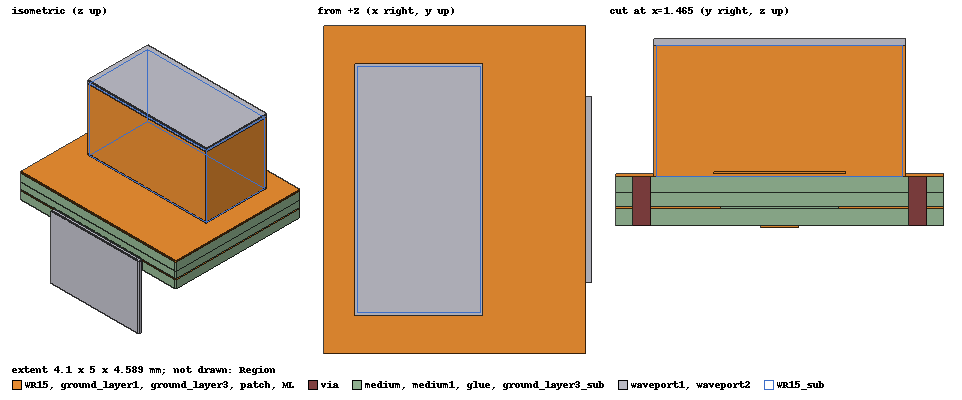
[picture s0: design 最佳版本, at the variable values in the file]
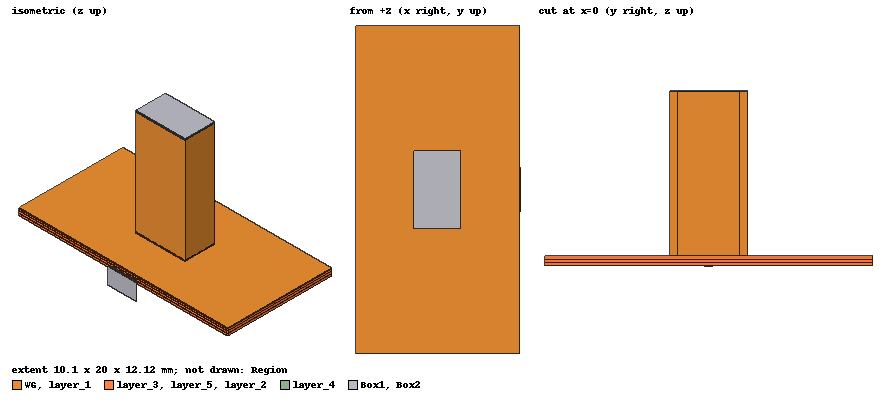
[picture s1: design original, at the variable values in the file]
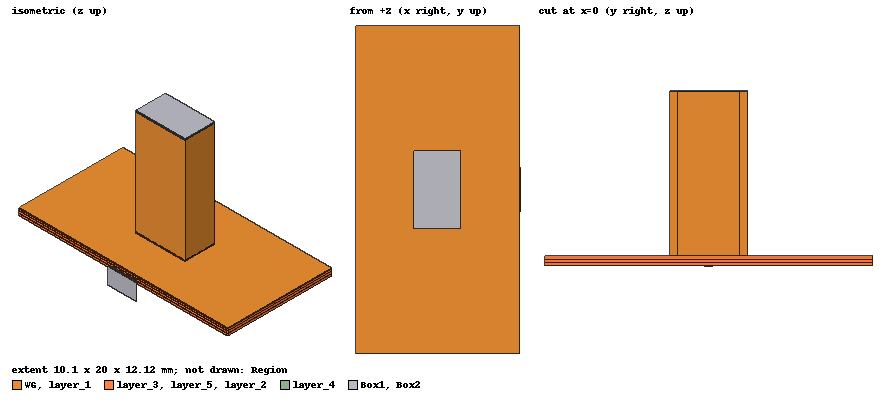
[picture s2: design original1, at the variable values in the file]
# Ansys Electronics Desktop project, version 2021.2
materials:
  vacuum: permittivity=1
  copper: permeability=0.999991 conductivity=58000000
  Rogers RO4350 (tm): permittivity=3.66 dielectric_loss_tangent=0.004
  pec: conductivity=1e+30
  air: permittivity=1.0006 permeability=1.0000004
  Rogers RO4450: permittivity=3.52 dielectric_loss_tangent=0.004
  Rogers RO4003 (tm): permittivity=3.55 dielectric_loss_tangent=0.0027

design 最佳版本 (HFSS, DrivenModal, model units mm)
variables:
  m_width = 5mm
  m_length = 4mm
  line_thickness = 35um
  lT = 2mm
  via_radius = 0.15mm
  WG_width = 3.76mm
  trans_0_width = 0.285mm
  trans_0_high = 1.415mm
  trans_1_width = 0.775mm
  trans_1_high = 1.448mm
  trans_2_width = 1.552mm
  trans_2_high = 1.478mm
  WG_high = 3mm
  WG_length = (3.76/2) mm
  m_thickness = 0.254mm
  ML_length = 3mm
  ML_width = 0.565mm
  metal_thickness = 0.035mm
  WR_high = 2mm
  WR_width = 3.76mm
  WR_length = 1.88mm
  patch_length = 0.93mm
  patch_width = 2mm
  glue_thickness = (8*0.0254) mm
  aperture_width = 1.8mm
  aperture_length = 0.54mm
  aperture_shift_x = 0.24mm
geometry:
  medium [Rogers RO4350 (tm)] = box(corner=(0mm, 0mm, 0mm), size=(m_length, m_width, m_thickness))
  ML [copper] = box(corner=(m_length - ML_length, ( m_width - ML_width ) / 2, -metal_thickness), size=(ML_length, ML_width, metal_thickness))
  WR15_sub [vacuum] = box(corner=(m_length - ML_length - 0.48 mm, ( m_width - WR_width ) / 2, m_thickness*2+line_thickness+glue_thickness), size=(WR_length, WR_width, WR_high))
  WR15 [copper] = box(corner=(m_length -  ML_length - line_thickness  - 0.48 mm, ( m_width - (WR_width + line_thickness *2) ) / 2, m_thickness*2+line_thickness+glue_thickness), size=(WR_length + line_thickness *2, WR_width + line_thickness *2, WR_high))
  ground_layer1 [copper] = box(corner=(0mm, 0mm, m_thickness*2+line_thickness+glue_thickness), size=(m_length, m_width, line_thickness))
  patch [copper] = box(corner=(m_length - ML_length, ( m_width - patch_width) / 2, m_thickness*2+line_thickness*2+glue_thickness), size=(patch_length, patch_width, line_thickness))
  via [copper] = cylinder(axis=Z, base_centre=(m_length - ML_length + WG_length * 0.85, ( m_width - ML_width )  / 2 - via_radius*1.5, 0mm), radius=via_radius, height=m_thickness*2+line_thickness+glue_thickness)
  waveport1 [pec] = box(corner=(m_length -  ML_length - line_thickness  - 0.48 mm, ( m_width - (WR_width + line_thickness *2) ) / 2, m_thickness*2+line_thickness+glue_thickness+WR_high), size=(WG_length + 2*line_thickness, WG_width + 2*line_thickness, 0.1mm))
  Rectangle1 = rectangle(corner=(m_length -  ML_length - 0.48 mm, ( m_width - (WR_width) ) / 2, m_thickness*2+line_thickness+glue_thickness+WR_high), x_size=WG_length, y_size=WG_width)
  Rectangle2 = rectangle(corner=(m_length, (m_width - 5*ML_width)/2, -8*m_thickness+m_thickness+line_thickness), y_size=5* ML_width, z_size=8* m_thickness)
  waveport2 [pec] = box(corner=(m_length, (m_width - 5*ML_width)/2, -8*m_thickness+m_thickness+line_thickness), size=(0.1mm, 5*ML_width, 8*m_thickness))
  Region [vacuum] = region(percentage_offset=20 on all sides)
  medium1 [Rogers RO4350 (tm)] = box(corner=(0mm, 0mm, m_thickness+line_thickness+glue_thickness), size=(m_length, m_width, m_thickness))
  glue [Rogers RO4450] = box(corner=(0mm, 0mm, m_thickness+line_thickness), size=(m_length, m_width, glue_thickness))
  ground_layer3 [copper] = box(corner=(0mm, 0mm, m_thickness), size=(m_length, m_width, line_thickness))
  ground_layer3_sub [Rogers RO4450] = box(corner=(m_length - ML_length +aperture_shift_x, ( m_width - aperture_width ) / 2, m_thickness), size=(aperture_length, aperture_width, line_thickness))
  ground_layer3_sub_1 = ground_layer3_sub.copy()
  ground_layer3.subtract(ground_layer3_sub_1)
  via_1..via_4 = via.duplicate_along_line(step=(0mm, -0.4mm, 0mm), total=5)
  via_4_1..via_4_5 = via_4.duplicate_along_line(step=(-0.4mm, 0mm, 0mm), total=7)  # copies kept: 1..5
  via1 = cylinder(axis=Z, base_centre=(m_length - ML_length - WG_length/2.6, ( m_width - WG_width )  / 2, 0mm), radius=via_radius, height=m_thickness*2+line_thickness+glue_thickness)
  via1_1..via1_9 = via1.duplicate_along_line(step=(0mm, 0.4mm, 0mm), total=10)
  via1.unite(via1_1..via1_9)
  via.unite(via_1..via_4, via_4_1..via_4_5)
  via_5 = via.duplicate_mirror(point=(2.6mm, 2.5mm, 0mm), normal=(0mm, -1mm, 0mm))
  via.unite(via1, via_5)
  via_6 = via.copy()
  glue.subtract(via_6)
  via_7 = via.copy()
  ground_layer3.subtract(via_7)
  via_8 = via.copy()
  medium.subtract(via_8)
  via_9 = via.copy()
  medium1.subtract(via_9)
  WR15_sub_1 = WR15_sub.copy()
  WR15.subtract(WR15_sub_1)
  WR15_1 = WR15.copy()
  WR15_sub_2 = WR15_sub.copy()
  ground_layer1.subtract(WR15_1, WR15_sub_2)
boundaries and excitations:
  Rad1: Radiation Objects=Region
  1: Wave Port Objects=Rectangle1 NumModes=1 Modes{Mode1{CharImp=Zpi}}
  2: Wave Port Objects=Rectangle2 NumModes=1 Modes{Mode1{CharImp=Zpi}}
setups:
  Setup1: HfssDriven MultipleAdaptiveFreqsSetup{Low=50GHz High=70GHz} MaxDeltaS=0.02 MaximumPasses=10 MinimumPasses=1 MinimumConvergedPasses=1 PercentRefinement=30 BasisOrder=1 PortAccuracy=2
    sweep Sweep: 50GHz to 65GHz step 1GHz; Type=Interpolating InterpTolerance=0.5 InterpMaxSolns=250 InterpUsePortImped=false PassivityErrorTolerance=0.0001
  Setup2: HfssDriven MultipleAdaptiveFreqsSetup{Low=50GHz High=70GHz} MaxDeltaS=0.02 MaximumPasses=10 MinimumPasses=1 MinimumConvergedPasses=1 PercentRefinement=30 BasisOrder=1 PortAccuracy=2
    sweep Sweep: 50GHz to 75GHz step 0.05GHz; Type=Interpolating InterpTolerance=0.5 InterpMaxSolns=250 InterpUsePortImped=false PassivityErrorTolerance=0.0001
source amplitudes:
  1:1: 1W 0deg
  2:1: 0W 0deg
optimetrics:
  ParametricSetup1: Parametric Sim._Setups=[Setup1]
    sweep ML_width: 0.53mm
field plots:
  Mag_E1: E Field on Setup1 : LastAdaptive at Freq=60GHz Phase=0deg
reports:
  S Parameter Plot 1: dB(S(1,1)), dB(S(2,1)) vs Freq on Setup1 : Sweep [Freq=50GHz,50.05GHz,50.1GHz,50.15GHz,50.2GHz,50.25GHz,50.3GHz,50.35GHz,50.4GHz,50.45GHz,50.5GHz,50.55GHz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]; markers MX1 at x=6e+10, MY1 at y=-1
  S Parameter Plot 2: dB(S(1,1)), dB(S(2,1)) vs Freq on Setup1 : Sweep [Freq=50GHz,50.05GHz,50.1GHz,50.15GHz,50.2GHz,50.25GHz,50.3GHz,50.35GHz,50.4GHz,50.45GHz,50.5GHz,50.55GHz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 ML_width=0.53mm aperture_length=all aperture_shift_x=all]; markers MY1 at y=-1, MY2 at y=-35
  S Parameter Plot 3: dB(S(1,1)), dB(S(2,1)) vs Freq on Setup2 : Sweep

design original (HFSS, DrivenModal, model units mm)
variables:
  m_thickness = 0.202mm
  m_length = 10mm
  m_width = 20mm
  line_thickness = 0.018mm
  MS_length = m_length/2 + 0.6mm
  MS_width = 0.45mm
  WG_length = 1.88mm
  WG_width = 3.75mm
  WG_high = 10mm
  WG_thickness = 0.5mm
  patch_length = 0.93mm
  patch_width = 2mm
  slot_width = 1.8mm
  slot_length = 0.18mm
  via_radius = 0.18mm
  L_g = 0.8mm
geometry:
  layer_3 [Rogers RO4003 (tm)] = box(corner=(- m_length /2, -m_width /2, - m_thickness /2), size=(m_length, m_width, m_thickness))
  layer_2 [Rogers RO4003 (tm)] = box(corner=(- m_length /2, -m_width /2, m_thickness /2), size=(m_length, m_width, m_thickness))
  layer_1 [copper] = box(corner=(- m_length /2, -m_width /2, m_thickness *3/2), size=(m_length, m_width, line_thickness))
  layer_4 [copper] = box(corner=(- m_length /2, -m_width /2, - m_thickness /2 - line_thickness), size=(m_length, m_width, line_thickness))
  layer_5 [Rogers RO4003 (tm)] = box(corner=(- m_length /2, -m_width /2, - m_thickness *3/2 - line_thickness), size=(m_length, m_width, m_thickness))
  MS [copper] = box(corner=(m_length /2, -MS_width /2, - m_thickness*3  /2 - line_thickness*2), size=(- MS_length, MS_width, line_thickness))
  WG_sub = box(corner=(- WG_length/2, -WG_width /2, m_thickness *3/2), size=(WG_length, WG_width, WG_high))
  WG [copper] = box(corner=(- (WG_length +WG_thickness*2) /2, -(WG_width + WG_thickness*2) /2, m_thickness *3/2), size=(WG_length +WG_thickness*2, WG_width + WG_thickness*2, WG_high))
  patch [copper] = box(corner=(- patch_length /2, -patch_width /2, m_thickness *3/2), size=(patch_length, patch_width, line_thickness))
  slot [Rogers RO4003 (tm)] = box(corner=(- slot_length /2, -slot_width /2, - m_thickness /2 - line_thickness), size=(slot_length, slot_width, line_thickness))
  via [copper] = cylinder(axis=Z, base_centre=(WG_length /2 + via_radius *1.8, - L_g/2, -m_thickness*3/2 - line_thickness *1), radius=via_radius /2, height=m_thickness*3 + line_thickness *2)
  via_1..via_5 = via.duplicate_along_line(step=(0mm, -0.36mm, 0mm), total=6)
  via_5_1..via_5_7 = via_5.duplicate_along_line(step=(-0.36mm, 0mm, 0mm), total=9)  # copies kept: 1..7
  via_5_7_1..via_5_7_6 = via_5_7.duplicate_along_line(step=(0mm, 0.36mm, 0mm), total=7)
  via_6 = via.duplicate_mirror(point=(0mm, 0mm, 0mm), normal=(0mm, 1mm, 0mm))
  via_1_1 = via_1.duplicate_mirror(point=(0mm, 0mm, 0mm), normal=(0mm, 1mm, 0mm))
  via_2_1 = via_2.duplicate_mirror(point=(0mm, 0mm, 0mm), normal=(0mm, 1mm, 0mm))
  via_3_1 = via_3.duplicate_mirror(point=(0mm, 0mm, 0mm), normal=(0mm, 1mm, 0mm))
  via_4_1 = via_4.duplicate_mirror(point=(0mm, 0mm, 0mm), normal=(0mm, 1mm, 0mm))
  via_5_8 = via_5.duplicate_mirror(point=(0mm, 0mm, 0mm), normal=(0mm, 1mm, 0mm))
  via_5_1_1 = via_5_1.duplicate_mirror(point=(0mm, 0mm, 0mm), normal=(0mm, 1mm, 0mm))
  via_5_2_1 = via_5_2.duplicate_mirror(point=(0mm, 0mm, 0mm), normal=(0mm, 1mm, 0mm))
  via_5_3_1 = via_5_3.duplicate_mirror(point=(0mm, 0mm, 0mm), normal=(0mm, 1mm, 0mm))
  via_5_4_1 = via_5_4.duplicate_mirror(point=(0mm, 0mm, 0mm), normal=(0mm, 1mm, 0mm))
  via_5_5_1 = via_5_5.duplicate_mirror(point=(0mm, 0mm, 0mm), normal=(0mm, 1mm, 0mm))
  via_5_6_1 = via_5_6.duplicate_mirror(point=(0mm, 0mm, 0mm), normal=(0mm, 1mm, 0mm))
  via_5_7_7 = via_5_7.duplicate_mirror(point=(0mm, 0mm, 0mm), normal=(0mm, 1mm, 0mm))
  via_5_7_1_1 = via_5_7_1.duplicate_mirror(point=(0mm, 0mm, 0mm), normal=(0mm, 1mm, 0mm))
  via_5_7_2_1 = via_5_7_2.duplicate_mirror(point=(0mm, 0mm, 0mm), normal=(0mm, 1mm, 0mm))
  via_5_7_3_1 = via_5_7_3.duplicate_mirror(point=(0mm, 0mm, 0mm), normal=(0mm, 1mm, 0mm))
  via_5_7_4_1 = via_5_7_4.duplicate_mirror(point=(0mm, 0mm, 0mm), normal=(0mm, 1mm, 0mm))
  via_5_7_5_1 = via_5_7_5.duplicate_mirror(point=(0mm, 0mm, 0mm), normal=(0mm, 1mm, 0mm))
  via.unite(via_1, via_1_1, via_2, via_2_1, via_3, via_3_1, via_4, via_4_1, via_5, via_5_1, via_5_1_1, via_5_2, via_5_2_1, via_5_3, via_5_3_1, via_5_4, via_5_4_1, via_5_5, via_5_5_1, via_5_6, via_5_6_1, via_5_7, via_5_7_1, via_5_7_1_1, via_5_7_2, via_5_7_2_1, via_5_7_3, via_5_7_3_1, via_5_7_4, via_5_7_4_1, via_5_7_5, via_5_7_5_1, via_5_7_6, via_5_7_7, via_5_8, via_6)
  Region [air] = region(percentage_offset=30 on all sides)
  Rectangle1 = rectangle(corner=(- (WG_length+WG_thickness*2)/2, -(WG_width+WG_thickness*2) /2, m_thickness *3/2 + WG_high), x_size=WG_length+WG_thickness*2, y_size=WG_width+WG_thickness*2)
  Box1 [pec] = box(corner=(- (WG_length+WG_thickness*2)/2, -(WG_width+WG_thickness*2) /2, m_thickness *3/2 + WG_high), size=(WG_length+WG_thickness*2, WG_width+WG_thickness*2, 0.1mm))
  Rectangle2 = rectangle(corner=(m_length /2, - 6*MS_width /2, - m_thickness /2), y_size=6*MS_width, z_size=- m_thickness *8)
  Box2 [pec] = box(corner=(m_length /2, - 6*MS_width /2, - m_thickness /2), size=(0.1mm, 6*MS_width, -8*m_thickness))
  WG_sub_1 = WG_sub.copy()
  layer_1.subtract(WG_sub_1)
  WG.subtract(WG_sub)
  slot_1 = slot.copy()
  layer_4.subtract(slot_1)
  via_7 = via.copy()
  layer_1.subtract(via_7)
  via_8 = via.copy()
  layer_2.subtract(via_8)
  via_9 = via.copy()
  layer_3.subtract(via_9)
  via_10 = via.copy()
  layer_4.subtract(via_10)
  via_11 = via.copy()
  layer_5.subtract(via_11)
  via_12 = via.copy()
  MS.subtract(via_12)
  via_13 = via.copy()
  WG.subtract(via_13)
  layer_1_1 = layer_1.copy()
  WG.subtract(layer_1_1)
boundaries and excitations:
  Rad1: Radiation Objects=Region
  1: Wave Port Objects=Rectangle1 NumModes=1 Modes{Mode1{CharImp=Zpi}}
  2: Wave Port Objects=Rectangle2 NumModes=1 Modes{Mode1{CharImp=Zpi}}
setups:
  Setup2: HfssDriven Frequency=60GHz MaxDeltaS=0.02 MaximumPasses=11 MinimumPasses=1 MinimumConvergedPasses=1 PercentRefinement=30 BasisOrder=1 PortAccuracy=2
    sweep Sweep: 50GHz to 75GHz step 0.05GHz; Type=Interpolating InterpTolerance=0.5 InterpMaxSolns=250 InterpUsePortImped=false InterpUsePropConst=false PassivityErrorTolerance=0.0001
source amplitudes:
  1:1: 1W 0deg
  2:1: 0W 0deg
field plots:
  Mag_E1: E Field in Region on Setup2 : LastAdaptive at Freq=60GHz Phase=0deg
  Mag_E2: E Field in layer_2, layer_3, layer_5 on Setup2 : LastAdaptive at Freq=60GHz Phase=0deg
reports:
  S Parameter Plot 1: dB(S(1,1)), dB(S(2,1)) vs Freq on Setup2 : Sweep; markers MX1 at x=6.128649e+10

design original1 (HFSS, DrivenModal, model units mm)
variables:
  m_thickness = 0.202mm
  m_length = 10mm
  m_width = 20mm
  line_thickness = 0.018mm
  MS_length = m_length/2 + 0.6mm
  MS_width = 0.45mm
  WG_length = 1.88mm
  WG_width = 3.75mm
  WG_high = 10mm
  WG_thickness = 0.5mm
  patch_length = 0.93mm
  patch_width = 2mm
  slot_width = 1.8mm
  slot_length = 0.18mm
  via_radius = 0.18mm
  L_g = 0.91mm
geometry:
  layer_3 [Rogers RO4003 (tm)] = box(corner=(- m_length /2, -m_width /2, - m_thickness /2), size=(m_length, m_width, m_thickness))
  layer_2 [Rogers RO4003 (tm)] = box(corner=(- m_length /2, -m_width /2, m_thickness /2), size=(m_length, m_width, m_thickness))
  layer_1 [copper] = box(corner=(- m_length /2, -m_width /2, m_thickness *3/2), size=(m_length, m_width, line_thickness))
  layer_4 [copper] = box(corner=(- m_length /2, -m_width /2, - m_thickness /2 - line_thickness), size=(m_length, m_width, line_thickness))
  layer_5 [Rogers RO4003 (tm)] = box(corner=(- m_length /2, -m_width /2, - m_thickness *3/2 - line_thickness), size=(m_length, m_width, m_thickness))
  MS [copper] = box(corner=(m_length /2, -MS_width /2, - m_thickness*3  /2 - line_thickness*2), size=(- MS_length, MS_width, line_thickness))
  WG_sub = box(corner=(- WG_length/2, -WG_width /2, m_thickness *3/2), size=(WG_length, WG_width, WG_high))
  WG [copper] = box(corner=(- (WG_length +WG_thickness*2) /2, -(WG_width + WG_thickness*2) /2, m_thickness *3/2), size=(WG_length +WG_thickness*2, WG_width + WG_thickness*2, WG_high))
  patch [copper] = box(corner=(- patch_length /2, -patch_width /2, m_thickness *3/2), size=(patch_length, patch_width, line_thickness))
  slot [Rogers RO4003 (tm)] = box(corner=(- slot_length /2, -slot_width /2, - m_thickness /2 - line_thickness), size=(slot_length, slot_width, line_thickness))
  via [copper] = cylinder(axis=Z, base_centre=(WG_length /2 + via_radius *1.7, - L_g/2, -m_thickness*3/2 - line_thickness *1), radius=via_radius /2, height=m_thickness*3 + line_thickness *2)
  via_1..via_5 = via.duplicate_along_line(step=(0mm, -0.36mm, 0mm), total=6)
  via_5_1..via_5_7 = via_5.duplicate_along_line(step=(-0.36mm, 0mm, 0mm), total=9)  # copies kept: 1..7
  via_5_7_1..via_5_7_6 = via_5_7.duplicate_along_line(step=(0mm, 0.36mm, 0mm), total=7)
  via_6 = via.duplicate_mirror(point=(0mm, 0mm, 0mm), normal=(0mm, 1mm, 0mm))
  via_1_1 = via_1.duplicate_mirror(point=(0mm, 0mm, 0mm), normal=(0mm, 1mm, 0mm))
  via_2_1 = via_2.duplicate_mirror(point=(0mm, 0mm, 0mm), normal=(0mm, 1mm, 0mm))
  via_3_1 = via_3.duplicate_mirror(point=(0mm, 0mm, 0mm), normal=(0mm, 1mm, 0mm))
  via_4_1 = via_4.duplicate_mirror(point=(0mm, 0mm, 0mm), normal=(0mm, 1mm, 0mm))
  via_5_8 = via_5.duplicate_mirror(point=(0mm, 0mm, 0mm), normal=(0mm, 1mm, 0mm))
  via_5_1_1 = via_5_1.duplicate_mirror(point=(0mm, 0mm, 0mm), normal=(0mm, 1mm, 0mm))
  via_5_2_1 = via_5_2.duplicate_mirror(point=(0mm, 0mm, 0mm), normal=(0mm, 1mm, 0mm))
  via_5_3_1 = via_5_3.duplicate_mirror(point=(0mm, 0mm, 0mm), normal=(0mm, 1mm, 0mm))
  via_5_4_1 = via_5_4.duplicate_mirror(point=(0mm, 0mm, 0mm), normal=(0mm, 1mm, 0mm))
  via_5_5_1 = via_5_5.duplicate_mirror(point=(0mm, 0mm, 0mm), normal=(0mm, 1mm, 0mm))
  via_5_6_1 = via_5_6.duplicate_mirror(point=(0mm, 0mm, 0mm), normal=(0mm, 1mm, 0mm))
  via_5_7_7 = via_5_7.duplicate_mirror(point=(0mm, 0mm, 0mm), normal=(0mm, 1mm, 0mm))
  via_5_7_1_1 = via_5_7_1.duplicate_mirror(point=(0mm, 0mm, 0mm), normal=(0mm, 1mm, 0mm))
  via_5_7_2_1 = via_5_7_2.duplicate_mirror(point=(0mm, 0mm, 0mm), normal=(0mm, 1mm, 0mm))
  via_5_7_3_1 = via_5_7_3.duplicate_mirror(point=(0mm, 0mm, 0mm), normal=(0mm, 1mm, 0mm))
  via_5_7_4_1 = via_5_7_4.duplicate_mirror(point=(0mm, 0mm, 0mm), normal=(0mm, 1mm, 0mm))
  via_5_7_5_1 = via_5_7_5.duplicate_mirror(point=(0mm, 0mm, 0mm), normal=(0mm, 1mm, 0mm))
  via.unite(via_1, via_1_1, via_2, via_2_1, via_3, via_3_1, via_4, via_4_1, via_5, via_5_1, via_5_1_1, via_5_2, via_5_2_1, via_5_3, via_5_3_1, via_5_4, via_5_4_1, via_5_5, via_5_5_1, via_5_6, via_5_6_1, via_5_7, via_5_7_1, via_5_7_1_1, via_5_7_2, via_5_7_2_1, via_5_7_3, via_5_7_3_1, via_5_7_4, via_5_7_4_1, via_5_7_5, via_5_7_5_1, via_5_7_6, via_5_7_7, via_5_8, via_6)
  Region [air] = region(percentage_offset=30 on all sides)
  Rectangle1 = rectangle(corner=(- (WG_length+WG_thickness*2)/2, -(WG_width+WG_thickness*2) /2, m_thickness *3/2 + WG_high), x_size=WG_length+WG_thickness*2, y_size=WG_width+WG_thickness*2)
  Box1 [pec] = box(corner=(- (WG_length+WG_thickness*2)/2, -(WG_width+WG_thickness*2) /2, m_thickness *3/2 + WG_high), size=(WG_length+WG_thickness*2, WG_width+WG_thickness*2, 0.1mm))
  Rectangle2 = rectangle(corner=(m_length /2, - 6*MS_width /2, - m_thickness /2), y_size=6*MS_width, z_size=- m_thickness *8)
  Box2 [pec] = box(corner=(m_length /2, - 6*MS_width /2, - m_thickness /2), size=(0.1mm, 6*MS_width, -8*m_thickness))
  WG_sub_1 = WG_sub.copy()
  layer_1.subtract(WG_sub_1)
  WG.subtract(WG_sub)
  slot_1 = slot.copy()
  layer_4.subtract(slot_1)
  via_7 = via.copy()
  layer_1.subtract(via_7)
  via_8 = via.copy()
  layer_2.subtract(via_8)
  via_9 = via.copy()
  layer_3.subtract(via_9)
  via_10 = via.copy()
  layer_4.subtract(via_10)
  via_11 = via.copy()
  layer_5.subtract(via_11)
  via_12 = via.copy()
  MS.subtract(via_12)
  via_13 = via.copy()
  WG.subtract(via_13)
  layer_1_1 = layer_1.copy()
  WG.subtract(layer_1_1)
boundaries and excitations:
  Rad1: Radiation Objects=Region
  1: Wave Port Objects=Rectangle1 NumModes=1 Modes{Mode1{CharImp=Zpi}}
  2: Wave Port Objects=Rectangle2 NumModes=1 Modes{Mode1{CharImp=Zpi}}
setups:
  Setup2: HfssDriven Frequency=60GHz MaxDeltaS=0.02 MaximumPasses=11 MinimumPasses=1 MinimumConvergedPasses=1 PercentRefinement=30 BasisOrder=1 PortAccuracy=2
    sweep Sweep: 50GHz to 75GHz step 0.05GHz; Type=Interpolating InterpTolerance=0.5 InterpMaxSolns=250 InterpUsePortImped=false InterpUsePropConst=false PassivityErrorTolerance=0.0001
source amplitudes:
  1:1: 1W 0deg
  2:1: 0W 0deg
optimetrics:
  ParametricSetup1: Parametric Sim._Setups=[Setup2]
    sweep L_g: LIN 0.75mm 1mm 0.05mm
  ParametricSetup2: Parametric Sim._Setups=[Setup2]
    sweep L_g: LIN 0.9mm 0.92mm 0.01mm
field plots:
  Mag_E1: E Field in Region on Setup2 : LastAdaptive at Freq=60GHz Phase=0deg
  Mag_E2: E Field in layer_2, layer_3, layer_5 on Setup2 : LastAdaptive at Freq=60GHz Phase=0deg
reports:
  S Parameter Plot 1: dB(S(1,1)), dB(S(2,1)) vs Freq on Setup2 : Sweep; markers MX1 at x=7.4066531e+10, MX2 at x=5e+10, MX3 at x=7.5e+10
  S Parameter Plot 2: dB(S(2,1)) vs Freq on Setup2 : Sweep [L_g=all]
